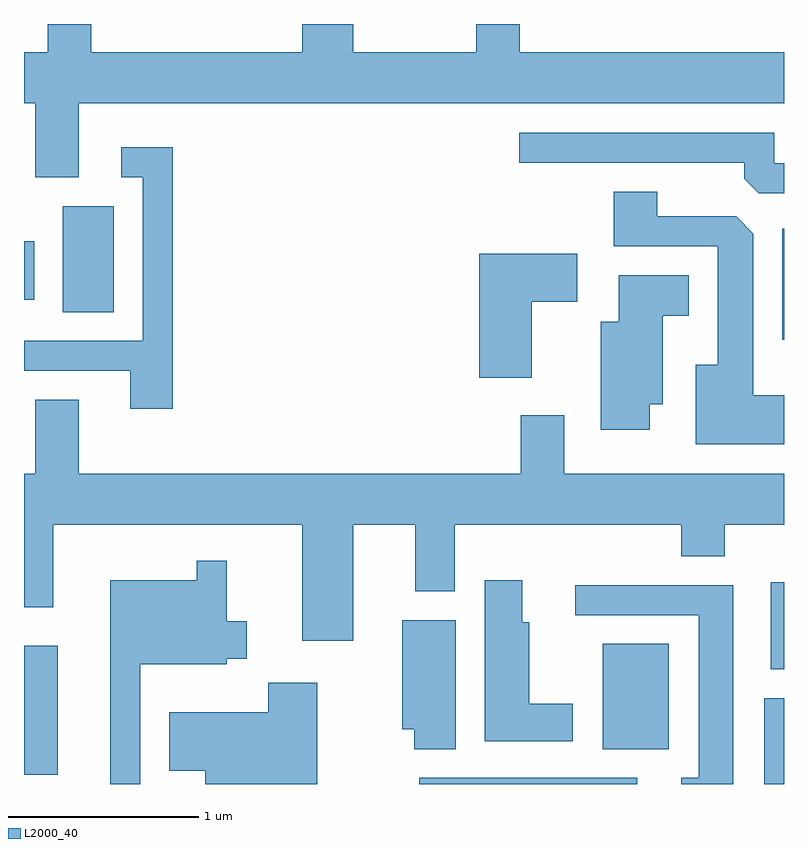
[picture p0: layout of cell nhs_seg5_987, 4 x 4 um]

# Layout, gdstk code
import gdstk
lib = gdstk.Library(unit=1e-6, precision=1e-09)
def R(c, l, rs):  # rectangles x0, y0, x1, y1
    for r in rs: c.add(gdstk.rectangle(r[:2], r[2:], *l))
def P(c, l, *ps):  # polygons
    for p in ps: c.add(gdstk.Polygon(p, *l))
L2000_40 = (2000, 40)

nhs_seg5_987 = lib.new_cell('nhs_seg5_987')
R(nhs_seg5_987, L2000_40, [(215.691,1482.072,216.839,1482.104), (217.506,1482.072,217.611,1482.524), (213.611,1482.121,213.789,1482.799), (216.656,1482.256,217.004,1482.809), (217.541,1482.676,217.611,1483.134), (217.601,1484.411,217.611,1484.994), (213.816,1484.556,214.084,1485.114), (213.611,1484.621,213.664,1484.929)])
P(nhs_seg5_987, L2000_40, [(213.899,1485.656),(217.611,1485.656),(217.611,1485.924),(216.219,1485.924),(216.219,1486.072),(215.991,1486.072),(215.991,1485.924),(215.344,1485.924),(215.344,1486.072),(215.076,1486.072),(215.076,1485.924),(213.964,1485.924),(213.964,1486.072),(213.736,1486.072),(213.736,1485.924),(213.611,1485.924),(213.611,1485.656),(213.671,1485.656),(213.671,1485.266),(213.899,1485.266)],
  [(217.611,1485.339),(217.559,1485.339),(217.559,1485.499),(216.218,1485.499),(216.218,1485.341),(217.401,1485.341),(217.401,1485.257),(217.477,1485.181),(217.611,1485.181)],
  [(214.394,1485.424),(214.123,1485.424),(214.123,1485.266),(214.236,1485.266),(214.236,1484.404),(213.611,1484.404),(213.611,1484.246),(214.171,1484.246),(214.171,1484.046),(214.394,1484.046)],
  [(217.611,1484.119),(217.449,1484.119),(217.449,1484.969),(217.359,1485.059),(216.944,1485.059),(216.944,1485.189),(216.716,1485.189),(216.716,1484.901),(217.261,1484.901),(217.261,1484.279),(217.146,1484.279),(217.146,1483.861),(217.611,1483.861)],
  [(216.284,1484.611),(216.524,1484.611),(216.524,1484.864),(216.006,1484.864),(216.006,1484.211),(216.284,1484.211)],
  [(216.904,1484.071),(216.974,1484.071),(216.974,1484.536),(217.109,1484.536),(217.109,1484.749),(216.741,1484.749),(216.741,1484.504),(216.646,1484.504),(216.646,1483.936),(216.904,1483.936)],
  [(215.344,1483.436),(215.671,1483.436),(215.671,1483.086),(215.879,1483.086),(215.879,1483.436),(217.071,1483.436),(217.071,1483.271),(217.299,1483.271),(217.299,1483.436),(217.611,1483.436),(217.611,1483.704),(216.454,1483.704),(216.454,1484.014),(216.226,1484.014),(216.226,1483.704),(213.899,1483.704),(213.899,1484.094),(213.671,1484.094),(213.671,1483.704),(213.611,1483.704),(213.611,1483.003),(213.764,1483.003),(213.764,1483.436),(215.076,1483.436),(215.076,1482.826),(215.344,1482.826)],
  [(214.224,1482.701),(214.679,1482.701),(214.679,1482.731),(214.784,1482.731),(214.784,1482.929),(214.679,1482.929),(214.679,1483.248),(214.521,1483.248),(214.521,1483.144),(214.066,1483.144),(214.066,1482.072),(214.224,1482.072)],
  [(216.499,1482.494),(216.269,1482.494),(216.269,1482.924),(216.234,1482.924),(216.234,1483.144),(216.036,1483.144),(216.036,1482.296),(216.499,1482.296)],
  [(217.344,1483.119),(216.513,1483.119),(216.513,1482.961),(217.161,1482.961),(217.161,1482.104),(217.071,1482.104),(217.071,1482.072),(217.344,1482.072)],
  [(215.884,1482.934),(215.601,1482.934),(215.601,1482.361),(215.666,1482.361),(215.666,1482.256),(215.884,1482.256)],
  [(215.154,1482.604),(214.896,1482.604),(214.896,1482.449),(214.376,1482.449),(214.376,1482.141),(214.566,1482.141),(214.566,1482.072),(215.154,1482.072)])

lib.write_gds('nhs_seg5_987.gds')
